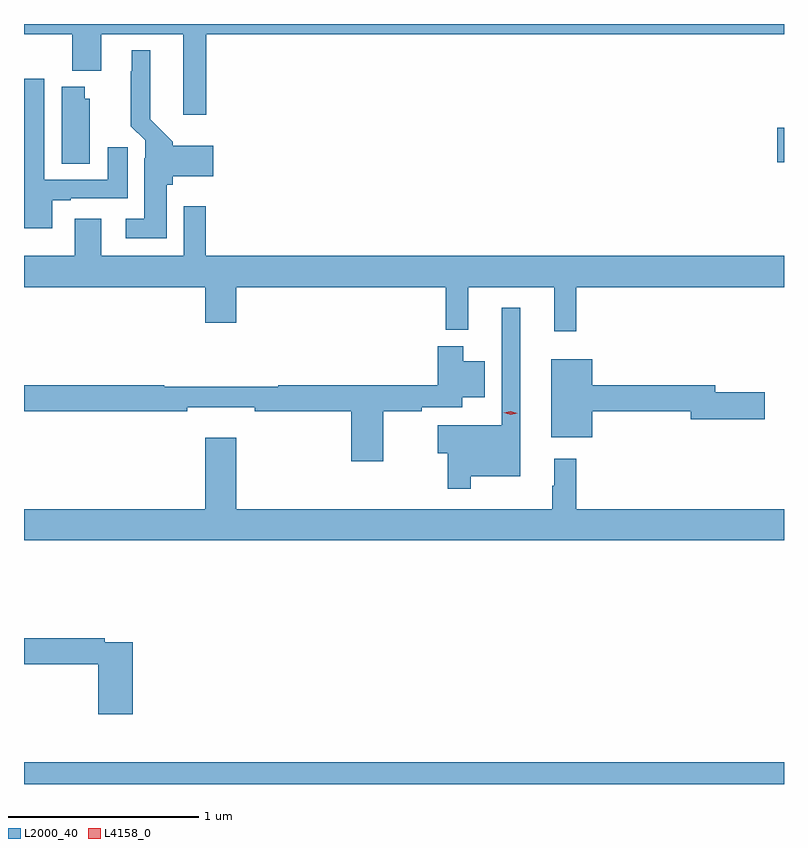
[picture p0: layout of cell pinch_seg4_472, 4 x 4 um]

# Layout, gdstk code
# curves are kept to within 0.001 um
import gdstk
lib = gdstk.Library(unit=1e-6, precision=1e-09)
def R(c, l, rs):  # rectangles x0, y0, x1, y1
    for r in rs: c.add(gdstk.rectangle(r[:2], r[2:], *l))
def P(c, l, *ps):  # polygons
    for p in ps: c.add(gdstk.Polygon(p, *l))
L2000_40 = (2000, 40)
L4158_0 = (4158, 0)

pinch_seg4_472 = lib.new_cell('pinch_seg4_472')
R(pinch_seg4_472, L2000_40, [(907.31,750.249,911.31,750.364), (911.274,753.521,911.31,753.704)])
P(pinch_seg4_472, L2000_40, [(907.31,754.196),(907.565,754.196),(907.565,754.004),(907.717,754.004),(907.717,754.196),(908.147,754.196),(908.147,753.771),(908.27,753.771),(908.27,754.196),(911.31,754.196),(911.31,754.249),(907.31,754.249)],
  [(908.062,753.402),(908.093,753.402),(908.093,753.449),(908.305,753.449),(908.305,753.607),(908.093,753.607),(908.093,753.63),(907.975,753.748),(907.975,754.111),(907.877,754.111),(907.877,754.001),(907.873,754.001),(907.873,753.71),(907.947,753.636),(907.947,753.542),(907.943,753.542),(907.943,753.223),(907.845,753.223),(907.845,753.122),(908.062,753.122)],
  [(907.459,753.321),(907.555,753.321),(907.555,753.333),(907.855,753.333),(907.855,753.601),(907.751,753.601),(907.751,753.429),(907.417,753.429),(907.417,753.961),(907.31,753.961),(907.31,753.174),(907.459,753.174)],
  [(907.657,753.855),(907.63,753.855),(907.63,753.919),(907.508,753.919),(907.508,753.514),(907.657,753.514)],
  [(910.217,752.864),(911.31,752.864),(911.31,753.028),(908.267,753.028),(908.267,753.289),(908.151,753.289),(908.151,753.028),(907.717,753.028),(907.717,753.223),(907.577,753.223),(907.577,753.028),(907.31,753.028),(907.31,752.864),(908.264,752.864),(908.264,752.676),(908.428,752.676),(908.428,752.864),(909.529,752.864),(909.529,752.639),(909.647,752.639),(909.647,752.864),(910.1,752.864),(910.1,752.631),(910.217,752.631)],
  [(909.661,751.868),(909.922,751.868),(909.922,752.755),(909.825,752.755),(909.825,752.137),(909.488,752.137),(909.488,751.99),(909.54,751.99),(909.54,751.803),(909.661,751.803)],
  [(909.202,752.212),(909.404,752.212),(909.404,752.232),(909.616,752.232),(909.616,752.285),(909.736,752.285),(909.736,752.473),(909.622,752.473),(909.622,752.554),(909.488,752.554),(909.488,752.348),(908.648,752.348),(908.648,752.341),(908.048,752.341),(908.048,752.348),(907.31,752.348),(907.31,752.212),(908.168,752.212),(908.168,752.231),(908.524,752.231),(908.524,752.212),(909.032,752.212),(909.032,751.947),(909.202,751.947)],
  [(910.3,752.212),(910.82,752.212),(910.82,752.17),(911.209,752.17),(911.209,752.312),(910.948,752.312),(910.948,752.348),(910.3,752.348),(910.3,752.485),(910.085,752.485),(910.085,752.075),(910.3,752.075)],
  [(911.31,751.696),(910.217,751.696),(910.217,751.96),(910.1,751.96),(910.1,751.82),(910.089,751.82),(910.089,751.696),(908.428,751.696),(908.428,752.071),(908.264,752.071),(908.264,751.696),(907.31,751.696),(907.31,751.532),(911.31,751.532)],
  [(907.883,750.996),(907.736,750.996),(907.736,751.016),(907.31,751.016),(907.31,750.88),(907.7,750.88),(907.7,750.615),(907.883,750.615)])
P(pinch_seg4_472, L4158_0, [(909.871,752.192),(909.835,752.203),(909.835,752.203),(909.835,752.203),(909.871,752.212),(909.906,752.2),(909.907,752.2),(909.906,752.2)])

lib.write_gds('pinch_seg4_472.gds')
